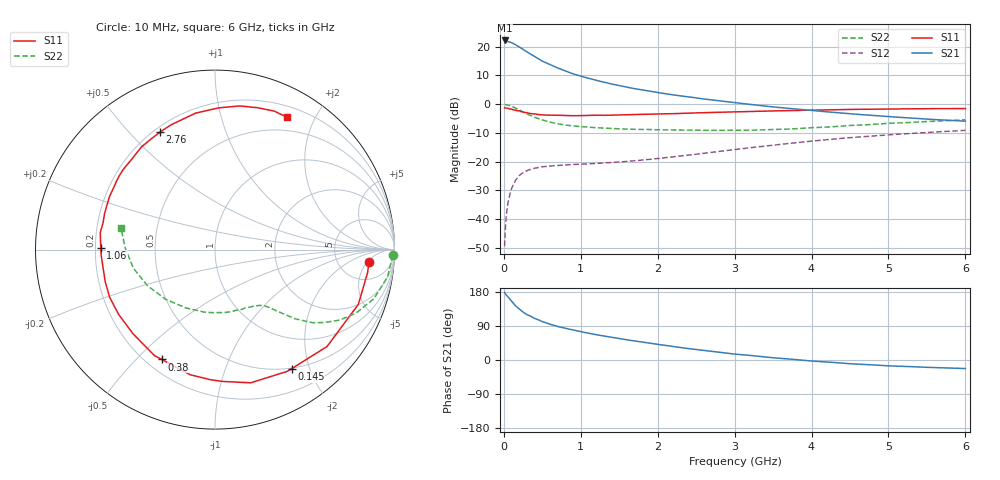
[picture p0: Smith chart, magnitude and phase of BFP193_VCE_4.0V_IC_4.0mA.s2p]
! Infineon Technologies  Discrete & RF Semiconductors
! BFP193
! VCE = 4.0 V,  IC =  4.0 mA
! Common Emitter S-Parameters:  Jan 2016
# GHz  S  MA  R  50
!  f  S11  S21  S12  S22
! GHz  MAG  ANG  MAG  ANG  MAG  ANG  MAG  ANG
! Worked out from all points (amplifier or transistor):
!   210 points, 10 MHz to 6 GHz, reference 50 ohm
!   highest |S21| = 22.2 dB at 10 MHz (marker M1)
!   |S21| within 3 dB of that: start of sweep to 243.9 MHz
!   unconditionally stable (mu >= 1): 1.366 GHz to 3.463 GHz
!   at 185 MHz: K = 0.18, MSG = 22.7 dB, |S12| = -25.3 dB
!   at 1.52 GHz: K = 1.06, MAG = 11.8 dB, |S12| = -20.1 dB
!   at 6 GHz: K = 0.91, MSG = 1.6 dB, |S12| = -9.1 dB
!   S11 on the Smith chart (normalised r, x): 10 MHz: 11, -5; 145 MHz: 0.49, -1.72; 380 MHz: 0.26, -0.59; 1.06 GHz: 0.22, +0.01; 2.76 GHz: 0.22, +0.61; 6 GHz: 0.33, +1.63
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0.01  0.861 -4.5  12.86 178.3  0.0034 88.9  0.9903 -1.8
0.02  0.86 -8.5  12.61 174.4  0.0072 84.1  0.9855 -3.6
0.05  0.8549 -20.9  12.39 167.0  0.0178 78.7  0.9732 -9.0
0.065  0.8354 -26.7  12.17 163.5  0.0226 74.7  0.957 -11.4
0.1  0.8254 -40.9  11.85 155.1  0.0339 69.7  0.926 -17.3
0.145  0.7891 -57.3  10.96 144.7  0.0458 60.9  0.8679 -23.5
0.2  0.7683 -75.0  9.963 134.6  0.0574 53.4  0.7978 -29.5
0.24  0.7363 -86.3  9.171 128.0  0.0632 48.4  0.7451 -32.8
0.3  0.711 -101.1  8.14 119.8  0.07 43.3  0.6779 -36.9
0.38  0.6803 -115.9  6.984 112.1  0.0757 38.1  0.6075 -39.9
0.5  0.6547 -134.2  5.618 101.3  0.0817 33.0  0.5317 -42.9
0.6  0.6472 -146.1  4.873 94.4  0.0843 30.7  0.4876 -44.7
0.8  0.6374 -163.6  3.775 83.6  0.0879 28.4  0.4337 -47.4
1.02  0.6351 -178.5  3.023 73.9  0.0911 28.4  0.4064 -50.0
1.06  0.6363 179.0  2.924 72.3  0.0916 28.7  0.402 -50.7
1.4  0.6475 161.7  2.247 59.9  0.0969 31.3  0.3796 -56.7
2.02  0.679 138.2  1.585 40.8  0.1146 37.7  0.3587 -70.5
2.76  0.7223 115.2  1.166 21.5  0.1488 41.4  0.3513 -91.9
3.1  0.7409 107.0  1.03 13.9  0.1689 40.9  0.3529 -103.3
4.1  0.793 86.8  0.757 -4.0  0.235 34.8  0.395 -138.7
5.1  0.8272 72.0  0.597 -16.1  0.2993 23.9  0.4707 -169.9
6  0.8397 61.5  0.508 -22.6  0.3513 12.9  0.5384 166.9
